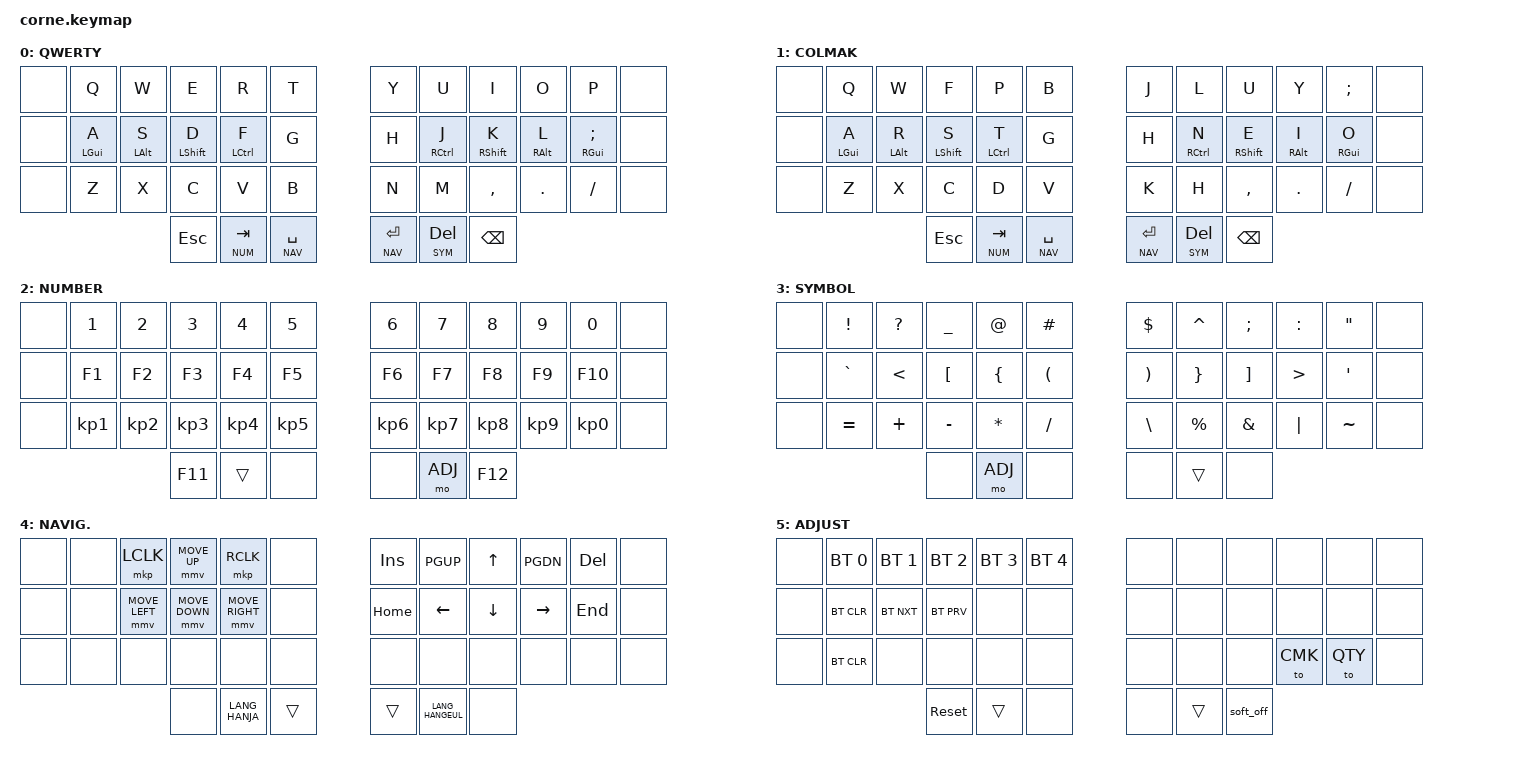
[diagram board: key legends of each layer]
/*
 * Copyright (c) 2020 The ZMK Contributors
 *
 * SPDX-License-Identifier: MIT
 */

#include <behaviors.dtsi>
#include <dt-bindings/zmk/keys.h>
#include <dt-bindings/zmk/bt.h>
#include <dt-bindings/zmk/mouse.h>

#define ZMK_MOUSE_DEFAULT_MOVE_VAL 1200  // 600
#define ZMK_MOUSE_DEFAULT_SCRL_VAL 20    // 10

#define QTY 0
#define CMK 1
#define NUM 2
#define SYM 3
#define NAV 4
#define ADJ 5

/ {
behaviors {
	  hm: homerow_mods {
	    compatible = "zmk,behavior-hold-tap";
	    label = "homerow mods";
	    #binding-cells = <2>;
	    tapping_term_ms = <220>;
	    flavor = "balanced";
	    bindings = <&kp>, <&kp>;
	  };

	};
        keymap {
          compatible = "zmk,keymap";

          qwerty_layer {
// -----------------------------------------------------------------------------------------
// | NO |  Q  |  W  |  E  |  R  |  T  |   |  Y  |  U  |  I  |  O  |  P  | NO |
// | NO |  A  |  S  |  D  |  F  |  G  |   |  H  |  J  |  K  |  L  |  ;  | NO |
// | NO |  Z  |  X  |  C  |  V  |  B  |   |  N  |  M  |  ,  |  .  |  /  | NO |
//                  | ESC | TAB | SPC |   | ENT | DEL | BSP |
              display-name = "QWERTY";
              bindings = <
   &none &kp Q      &kp W      &kp E        &kp R       &kp T         &kp Y       &kp U        &kp I        &kp O      &kp P         &none
   &none &hm LGUI A &hm LALT S &hm LSHIFT D &hm LCTRL F &kp G         &kp H       &hm RCTRL J  &hm RSHIFT K &hm RALT L &hm RGUI SEMI &none
   &none &kp Z      &kp X      &kp C        &kp V       &kp B         &kp N       &kp M        &kp COMMA    &kp DOT    &kp FSLH      &none
                               &kp ESC      &lt NUM TAB &lt NAV SPACE &lt NAV RET &lt SYM DEL &kp BSPC
            >;
          };
          colemak_layer {
// -----------------------------------------------------------------------------------------
// | NO |  Q  |  W  |  F  |  P  |  B  |   |  J  |  L  |  U  |  Y  |  ;  | NO |
// | NO |  A  |  R  |  S  |  T  |  G  |   |  M  |  N  |  E  |  I  |  O  | NO |
// | NO |  Z  |  X  |  C  |  D  |  V  |   |  K  |  H  |  ,  |  .  |  /  | NO |
//                  | ESC | TAB | SPC |   | ENT | DEL | BSP |
            display-name = "COLMAK";
            bindings = <
   &none &kp Q      &kp W      &kp F        &kp P           &kp B         &kp J       &kp L       &kp U        &kp Y      &kp SEMI   &none
   &none &hm LGUI A &hm LALT R &hm LSHIFT S &hm LCTRL T     &kp G         &kp H       &hm RCTRL N &hm RSHIFT E &hm RALT I &hm RGUI O &none
   &none &kp Z      &kp X      &kp C        &kp D           &kp V         &kp K       &kp H       &kp COMMA    &kp DOT    &kp FSLH   &none
                               &kp ESC      &lt NUM TAB     &lt NAV SPACE &lt NAV RET &lt SYM DEL &kp BSPC
            >;
          };
          num_layer {
// -----------------------------------------------------------------------------------------
// | NO |  1  |  2  |  3  |  4  |  5  |   |  6  |  7  |  8  |  9  |  0  | NO |
// | NO | F1  | F2  | F3  | F4  | F5  |   | F6  | F7  | F8  | F9  | F10 | NO |
// | NO | KP1 | KP2 | KP3 | KP4 | KP5 |   | KP6 | KP7 | KP8 | KP9 | KP0 | NO |
//                  | F11 |trans|     |   |     | ADJ | F12 |
            display-name = "NUMBER";
            bindings = <
   &none &kp N1    &kp N2    &kp N3    &kp N4    &kp N5    &kp N6    &kp N7    &kp N8    &kp N9    &kp N0     &none
   &none &kp F1    &kp F2    &kp F3    &kp F4    &kp F5    &kp F6    &kp F7    &kp F8    &kp F9    &kp F10    &none
   &none &kp KP_N1 &kp KP_N2 &kp KP_N3 &kp KP_N4 &kp KP_N5 &kp KP_N6 &kp KP_N7 &kp KP_N8 &kp KP_N9 &kp KP_N0  &none
                             &kp F11   &trans    &none     &none     &mo ADJ   &kp F12
            >;
          };

          sym_layer {
// -----------------------------------------------------------------------------------------
// | NO |  !  |  ?  |  _  |  @  |  #  |   |  $  |  ^  |  ;  |  :  |  "  | NO |
// | NO |  `  |  <  |  [  |  {  |  (  |   |  )  |  }  |  ]  |  >  |  '  | NO |
// | NO |  =  |  +  |  -  |  *  |  /  |   |  \  |  %  |  &  | "|" |  ~  | NO |
//                  |     | ADJ |     |   |     |trans|     |
            display-name = "SYMBOL";
            bindings = <
   &none  &kp EXCL   &kp QMARK  &kp UNDER  &kp AT    &kp HASH  &kp DLLR  &kp CARET  &kp SEMI  &kp COLON  &kp DQT   &none
   &none  &kp GRAVE  &kp LT     &kp LBKT   &kp LBRC  &kp LPAR  &kp RPAR  &kp RBRC   &kp RBKT  &kp GT     &kp APOS  &none
   &none  &kp EQUAL  &kp PLUS   &kp MINUS  &kp STAR  &kp FSLH  &kp BSLH  &kp PRCNT  &kp AMPS  &kp PIPE   &kp TILDE &none
                    	        &none      &mo ADJ   &none     &none     &trans     &none
            >;
          };
          nav_layer {
// -----------------------------------------------------------------------------------------
// | NO |     | mlk | mup | mrk  |      |   |  INS | PGUP |  UP  |  PGDN | DEL | NO |
// | NO |     | mlf | mdn | mrgt |      |   | HOME | LEFT | DOWN | RIGHT | END | NO |
// | NO |     |     |     |      |      |   |      |      |      |       |     | NO |
//                  |     | HANJ | trans|   | trans| HAEN |      |
            display-name = "NAVIG.";
            bindings = <
   &none &none &mkp LCLK      &mmv MOVE_UP   &mkp RCLK       &none   &kp INS          &kp PGUP  &kp UP    &kp PGDN   &kp DEL  &none
   &none &none &mmv MOVE_LEFT &mmv MOVE_DOWN &mmv MOVE_RIGHT &none   &kp HOME         &kp LEFT  &kp DOWN  &kp RIGHT  &kp END  &none
   &none &none &none          &none          &none           &none   &none            &none     &none     &none      &none    &none
               &none          &kp LANG_HANJA &trans          &trans  &kp LANG_HANGEUL &none
            >;
          };

          adj_layer {
// -----------------------------------------------------------------------------------------
// | NO | BT1  | BT2 | BT3 | BT4  | BT5 |   |     |      |     |        |        | NO |
// | NO | BTCL | BTN | BTP |      |     |   |     |      |     |        |        | NO |
// | NO |      |     |     |      |     |   |     |      |     | COLMAK | QWERTY | NO |
//                   | RST | trans|     |   |     | trans| OFF |
            display-name = "ADJUST";
            bindings = <
   &none &bt BT_SEL 0 &bt BT_SEL 1 &bt BT_SEL 2 &bt BT_SEL 3 &bt BT_SEL 4 &none &none  &none     &none   &none   &none
   &none &bt BT_CLR   &bt BT_NXT   &bt BT_PRV   &none        &none        &none &none  &none     &none   &none   &none
   &none &bt BT_CLR   &none        &none        &none        &none        &none &none  &none     &to CMK &to QTY &none
                          	   &sys_reset   &trans       &none        &none &trans &soft_off
            >;
         };

       };
};
